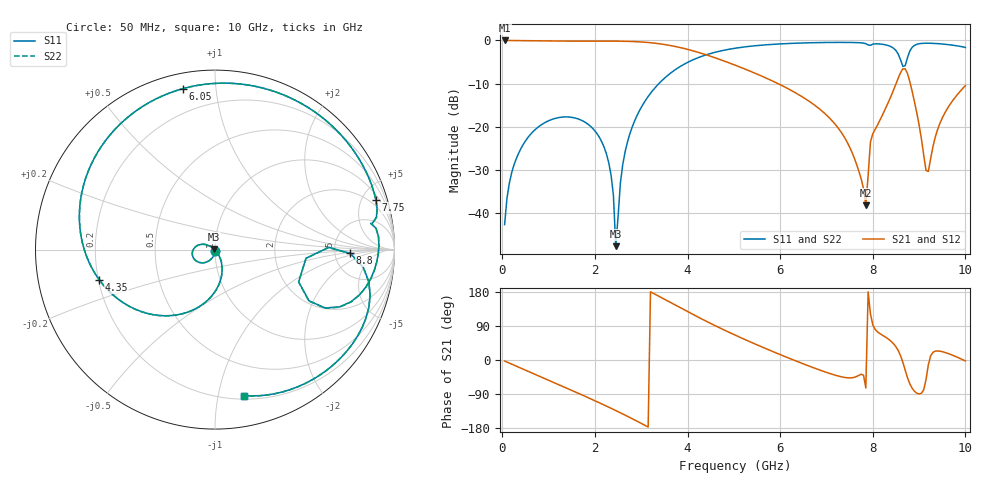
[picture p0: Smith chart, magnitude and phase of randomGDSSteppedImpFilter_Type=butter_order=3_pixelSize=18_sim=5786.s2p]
! freq	dB(S11)	phase(S11)	dB(S12)	phase(S12)
!  dB(S21)	phase(S21)	dB(S22)	phase(S22)
!S-par simulation data
#  GHz  S  DB  R 50
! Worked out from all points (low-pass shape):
!   200 points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, 50 MHz to 10 GHz, reference 50 ohm
!   highest |S21| = 0.00 dB at 50 MHz (marker M1); lowest = -38.3 dB at 7.85 GHz (marker M2)
!   |S21| within 3 dB of the highest: start of sweep to 4.305 GHz
!   lowest |S11| = -47.7 dB at 2.45 GHz (marker M3), VSWR 1.01, Z = 49.6 + j0.135 ohm
!   |S11| at or under -10 dB: start of sweep to 3.382 GHz
!   |S22| runs from -48.2 to -0.5 dB; largest |S21 - S12| = 0
!   S11 on the Smith chart (normalised r, x): 50 MHz: 1.00, -0.01; 4.35 GHz: 0.20, -0.12; 6.05 GHz: 0.07, +0.82; 7.75 GHz: 1.37, +6.33; 8.8 GHz: 7.05, -0.68; 10 GHz: 0.23, -1.19
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0.05  -42.72 -92.0  -0.00 -2.7  -0.00 -2.7  -42.72 -92.0
0.2  -30.79 -99.9  -0.02 -10.8  -0.02 -10.8  -30.79 -100.0
0.55  -22.56 -120.0  -0.07 -29.5  -0.07 -29.5  -22.56 -120.0
1.75  -18.73 175.8  -0.17 -93.7  -0.17 -93.7  -18.73 175.5
2.3  -28.42 146.4  -0.16 -124.6  -0.16 -124.6  -28.42 145.4
2.4  -36.00 143.9  -0.16 -130.4  -0.16 -130.4  -36.02 141.2
2.45  -47.72 160.7  -0.17 -133.4  -0.17 -133.4  -48.25 149.5
2.55  -33.07 -54.6  -0.18 -139.3  -0.18 -139.3  -33.10 -52.5
2.7  -23.66 -61.0  -0.21 -148.4  -0.21 -148.4  -23.67 -60.3
3.4  -9.80 -104.5  -0.78 166.8  -0.78 166.8  -9.80 -104.4
4.35  -3.53 -165.4  -3.15 105.5  -3.15 105.5  -3.53 -165.3
5.05  -1.77 153.9  -5.82 64.4  -5.82 64.4  -1.77 153.9
6.05  -0.78 101.3  -10.53 11.8  -10.53 11.8  -0.78 101.2
6.7  -0.53 69.1  -14.66 -19.5  -14.66 -19.5  -0.53 69.0
7.75  -0.55 17.2  -32.12 -37.5  -32.12 -37.5  -0.55 17.1
7.85  -0.75 11.4  -38.27 -73.9  -38.27 -73.9  -0.74 11.4
7.95  -1.11 9.6  -23.55 121.7  -23.55 121.7  -1.09 9.4
8.35  -1.24 -13.8  -14.01 54.0  -14.01 54.0  -1.24 -14.0
8.65  -6.02 -21.1  -6.59 -6.3  -6.59 -6.3  -6.02 -21.2
8.8  -2.46 -1.6  -9.55 -62.9  -9.55 -62.9  -2.46 -1.7
9.2  -0.64 -34.1  -30.38 -12.6  -30.38 -12.6  -0.64 -34.2
10  -1.62 -78.7  -10.48 -2.5  -10.48 -2.5  -1.62 -78.9
